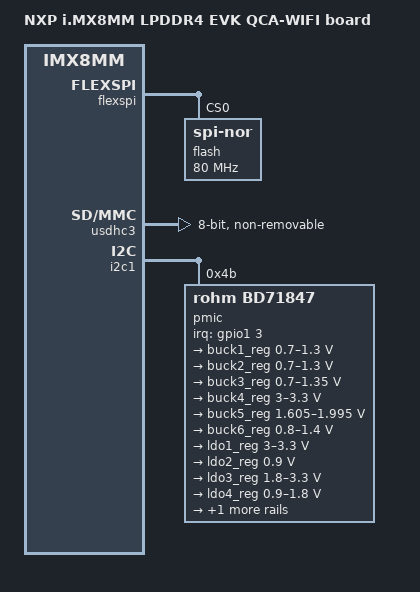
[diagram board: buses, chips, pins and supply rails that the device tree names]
// SPDX-License-Identifier: GPL-2.0+
 /*
  * Copyright 2020 NXP
  */

/dts-v1/;

#include <dt-bindings/usb/pd.h>
#include "imx8mm-evk.dtsi"

/ {
	model = "NXP i.MX8MM LPDDR4 EVK QCA-WIFI board";
	compatible = "fsl,imx8mm-evk", "fsl,imx8mm";

	aliases {
		spi0 = &flexspi;
	};
};

&ddrc {
	operating-points-v2 = <&ddrc_opp_table>;

	ddrc_opp_table: opp-table {
		compatible = "operating-points-v2";

		opp-25M {
			opp-hz = /bits/ 64 <25000000>;
		};

		opp-100M {
			opp-hz = /bits/ 64 <100000000>;
		};

		opp-750M {
			opp-hz = /bits/ 64 <750000000>;
		};
	};
};

&flexspi {
	pinctrl-names = "default";
	pinctrl-0 = <&pinctrl_flexspi>;
	status = "okay";

	flash@0 {
		reg = <0>;
		#address-cells = <1>;
		#size-cells = <1>;
		compatible = "jedec,spi-nor";
		spi-max-frequency = <80000000>;
		spi-tx-bus-width = <4>;
		spi-rx-bus-width = <4>;
	};
};

&usdhc3 {
	assigned-clocks = <&clk IMX8MM_CLK_USDHC3_ROOT>;
	assigned-clock-rates = <400000000>;
	pinctrl-names = "default", "state_100mhz", "state_200mhz";
	pinctrl-0 = <&pinctrl_usdhc3>;
	pinctrl-1 = <&pinctrl_usdhc3_100mhz>;
	pinctrl-2 = <&pinctrl_usdhc3_200mhz>;
	bus-width = <8>;
	non-removable;
	status = "okay";
};

&iomuxc {
	pinctrl_flexspi: flexspigrp {
		fsl,pins = <
			MX8MM_IOMUXC_NAND_ALE_QSPI_A_SCLK               0x1c2
			MX8MM_IOMUXC_NAND_CE0_B_QSPI_A_SS0_B            0x82
			MX8MM_IOMUXC_NAND_DATA00_QSPI_A_DATA0           0x82
			MX8MM_IOMUXC_NAND_DATA01_QSPI_A_DATA1           0x82
			MX8MM_IOMUXC_NAND_DATA02_QSPI_A_DATA2           0x82
			MX8MM_IOMUXC_NAND_DATA03_QSPI_A_DATA3           0x82
		>;
	};

	pinctrl_usdhc3: usdhc3grp {
		fsl,pins = <
			MX8MM_IOMUXC_NAND_WE_B_USDHC3_CLK               0x190
			MX8MM_IOMUXC_NAND_WP_B_USDHC3_CMD               0x1d0
			MX8MM_IOMUXC_NAND_DATA04_USDHC3_DATA0           0x1d0
			MX8MM_IOMUXC_NAND_DATA05_USDHC3_DATA1           0x1d0
			MX8MM_IOMUXC_NAND_DATA06_USDHC3_DATA2           0x1d0
			MX8MM_IOMUXC_NAND_DATA06_USDHC3_DATA2           0x1d0
			MX8MM_IOMUXC_NAND_DATA07_USDHC3_DATA3           0x1d0
			MX8MM_IOMUXC_NAND_RE_B_USDHC3_DATA4             0x1d0
			MX8MM_IOMUXC_NAND_CE2_B_USDHC3_DATA5            0x1d0
			MX8MM_IOMUXC_NAND_CE3_B_USDHC3_DATA6            0x1d0
			MX8MM_IOMUXC_NAND_CLE_USDHC3_DATA7              0x1d0
			MX8MM_IOMUXC_NAND_CE1_B_USDHC3_STROBE           0x190
		>;
	};

	pinctrl_usdhc3_100mhz: usdhc3-100mhzgrp {
		fsl,pins = <
			MX8MM_IOMUXC_NAND_WE_B_USDHC3_CLK               0x194
			MX8MM_IOMUXC_NAND_WP_B_USDHC3_CMD               0x1d4
			MX8MM_IOMUXC_NAND_DATA04_USDHC3_DATA0           0x1d4
			MX8MM_IOMUXC_NAND_DATA05_USDHC3_DATA1           0x1d4
			MX8MM_IOMUXC_NAND_DATA06_USDHC3_DATA2           0x1d4
			MX8MM_IOMUXC_NAND_DATA07_USDHC3_DATA3           0x1d4
			MX8MM_IOMUXC_NAND_RE_B_USDHC3_DATA4             0x1d4
			MX8MM_IOMUXC_NAND_CE2_B_USDHC3_DATA5            0x1d4
			MX8MM_IOMUXC_NAND_CE3_B_USDHC3_DATA6            0x1d4
			MX8MM_IOMUXC_NAND_CLE_USDHC3_DATA7              0x1d4
			MX8MM_IOMUXC_NAND_CE1_B_USDHC3_STROBE           0x194
		>;
	};

	pinctrl_usdhc3_200mhz: usdhc3-200mhzgrp {
		fsl,pins = <
			MX8MM_IOMUXC_NAND_WE_B_USDHC3_CLK               0x196
			MX8MM_IOMUXC_NAND_WP_B_USDHC3_CMD               0x1d6
			MX8MM_IOMUXC_NAND_DATA04_USDHC3_DATA0           0x1d6
			MX8MM_IOMUXC_NAND_DATA05_USDHC3_DATA1           0x1d6
			MX8MM_IOMUXC_NAND_DATA06_USDHC3_DATA2           0x1d6
			MX8MM_IOMUXC_NAND_DATA07_USDHC3_DATA3           0x1d6
			MX8MM_IOMUXC_NAND_RE_B_USDHC3_DATA4             0x1d6
			MX8MM_IOMUXC_NAND_CE2_B_USDHC3_DATA5            0x1d6
			MX8MM_IOMUXC_NAND_CE3_B_USDHC3_DATA6            0x1d6
			MX8MM_IOMUXC_NAND_CLE_USDHC3_DATA7              0x1d6
			MX8MM_IOMUXC_NAND_CE1_B_USDHC3_STROBE           0x196
		>;
	};
};

/delete-node/ &pmic;

&i2c1 {
	pmic: pmic@4b {
		compatible = "rohm,bd71847";
		reg = <0x4b>;
		pinctrl-0 = <&pinctrl_pmic>;
		interrupt-parent = <&gpio1>;
		interrupts = <3 GPIO_ACTIVE_LOW>;
		rohm,reset-snvs-powered;

		regulators {
			buck1_reg: BUCK1 {
				regulator-name = "BUCK1";
				regulator-min-microvolt = <700000>;
				regulator-max-microvolt = <1300000>;
				regulator-boot-on;
				regulator-always-on;
				regulator-ramp-delay = <1250>;
			};

			buck2_reg: BUCK2 {
				regulator-name = "BUCK2";
				regulator-min-microvolt = <700000>;
				regulator-max-microvolt = <1300000>;
				regulator-boot-on;
				regulator-always-on;
				regulator-ramp-delay = <1250>;
				rohm,dvs-run-voltage = <1000000>;
				rohm,dvs-idle-voltage = <900000>;
			};

			buck3_reg: BUCK3 {
				// BUCK5 in datasheet
				regulator-name = "BUCK3";
				regulator-min-microvolt = <700000>;
				regulator-max-microvolt = <1350000>;
				regulator-boot-on;
				regulator-always-on;
			};

			buck4_reg: BUCK4 {
				// BUCK6 in datasheet
				regulator-name = "BUCK4";
				regulator-min-microvolt = <3000000>;
				regulator-max-microvolt = <3300000>;
				regulator-boot-on;
				regulator-always-on;
			};

			buck5_reg: BUCK5 {
				// BUCK7 in datasheet
				regulator-name = "BUCK5";
				regulator-min-microvolt = <1605000>;
				regulator-max-microvolt = <1995000>;
				regulator-boot-on;
				regulator-always-on;
			};

			buck6_reg: BUCK6 {
				// BUCK8 in datasheet
				regulator-name = "BUCK6";
				regulator-min-microvolt = <800000>;
				regulator-max-microvolt = <1400000>;
				regulator-boot-on;
				regulator-always-on;
			};

			ldo1_reg: LDO1 {
				regulator-name = "LDO1";
				regulator-min-microvolt = <3000000>;
				regulator-max-microvolt = <3300000>;
				regulator-boot-on;
				regulator-always-on;
			};

			ldo2_reg: LDO2 {
				regulator-name = "LDO2";
				regulator-min-microvolt = <900000>;
				regulator-max-microvolt = <900000>;
				regulator-boot-on;
				regulator-always-on;
			};

			ldo3_reg: LDO3 {
				regulator-name = "LDO3";
				regulator-min-microvolt = <1800000>;
				regulator-max-microvolt = <3300000>;
				regulator-boot-on;
				regulator-always-on;
			};

			ldo4_reg: LDO4 {
				regulator-name = "LDO4";
				regulator-min-microvolt = <900000>;
				regulator-max-microvolt = <1800000>;
				regulator-boot-on;
				regulator-always-on;
			};

			ldo6_reg: LDO6 {
				regulator-name = "LDO6";
				regulator-min-microvolt = <900000>;
				regulator-max-microvolt = <1800000>;
				regulator-boot-on;
				regulator-always-on;
			};
		};
	};
};
